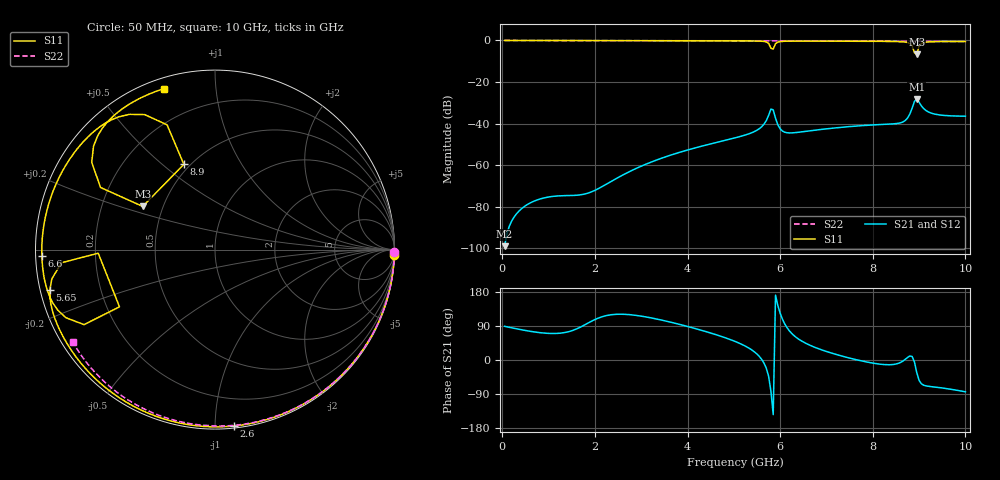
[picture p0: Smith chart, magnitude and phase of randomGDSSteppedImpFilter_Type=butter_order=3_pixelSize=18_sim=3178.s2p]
! freq	dB(S11)	phase(S11)	dB(S12)	phase(S12)
!  dB(S21)	phase(S21)	dB(S22)	phase(S22)
!S-par simulation data
#  GHz  S  DB  R 50
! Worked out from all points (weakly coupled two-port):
!   200 points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, 50 MHz to 10 GHz, reference 50 ohm
!   highest |S21| = -28.17 dB at 8.95 GHz (marker M1); lowest = -98.9 dB at 50 MHz (marker M2)
!   lowest |S11| = -6.6 dB at 8.95 GHz (marker M3), VSWR 2.77, Z = 19.2 + j11.9 ohm
!   |S11| at or under -10 dB: nowhere
!   |S22| runs from -0.5 to 0.0 dB; largest |S21 - S12| = 0
!   S11 on the Smith chart (normalised r, x): 50 MHz: 0, -66; 2.6 GHz: 0.01, -1.11; 5.65 GHz: 0.03, -0.12; 6.6 GHz: 0.02, -0.02; 8.9 GHz: 0.46, +0.59; 10 GHz: 0.05, +0.73
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0.05  -0.00 -1.7  -98.89 88.9  -98.89 88.9  -0.00 -0.9
0.85  -0.04 -29.1  -75.98 71.6  -75.98 71.6  -0.02 -14.4
1.75  -0.07 -58.4  -73.97 90.7  -73.97 90.7  -0.04 -29.4
2.6  -0.10 -83.8  -64.70 120.8  -64.70 120.8  -0.06 -43.3
3.4  -0.13 -105.8  -56.92 106.4  -56.92 106.4  -0.07 -55.9
5.05  -0.20 -147.1  -46.69 47.9  -46.69 47.9  -0.12 -80.7
5.65  -0.47 -166.3  -40.29 -7.9  -40.29 -7.9  -0.15 -89.3
5.75  -1.33 -175.1  -36.08 -42.4  -36.08 -42.4  -0.16 -90.7
5.8  -3.73 -178.2  -32.99 -81.7  -32.99 -81.7  -0.17 -91.4
5.85  -4.15 -149.1  -33.35 -144.1  -33.35 -144.1  -0.17 -92.0
5.95  -0.79 -155.4  -40.53 143.7  -40.53 143.7  -0.17 -93.4
6.05  -0.44 -161.7  -43.55 107.6  -43.55 107.6  -0.17 -94.8
6.6  -0.31 -177.9  -43.56 41.3  -43.56 41.3  -0.20 -102.4
6.7  -0.31 179.7  -43.27 35.9  -43.27 35.9  -0.20 -103.7
8.35  -0.47 139.7  -40.23 -12.5  -40.23 -12.5  -0.32 -125.6
8.7  -0.79 125.9  -38.50 1.5  -38.50 1.5  -0.36 -130.1
8.85  -2.56 111.0  -32.54 9.2  -32.54 9.2  -0.38 -132.0
8.9  -5.92 110.1  -29.29 -5.1  -29.29 -5.1  -0.39 -132.7
8.95  -6.57 149.2  -28.17 -33.3  -28.17 -33.3  -0.39 -133.3
9.05  -1.50 144.7  -31.46 -62.8  -31.46 -62.8  -0.39 -134.6
9.3  -0.60 128.4  -35.18 -70.8  -35.18 -70.8  -0.41 -137.8
10  -0.53 107.5  -36.41 -83.9  -36.41 -83.9  -0.49 -146.9
